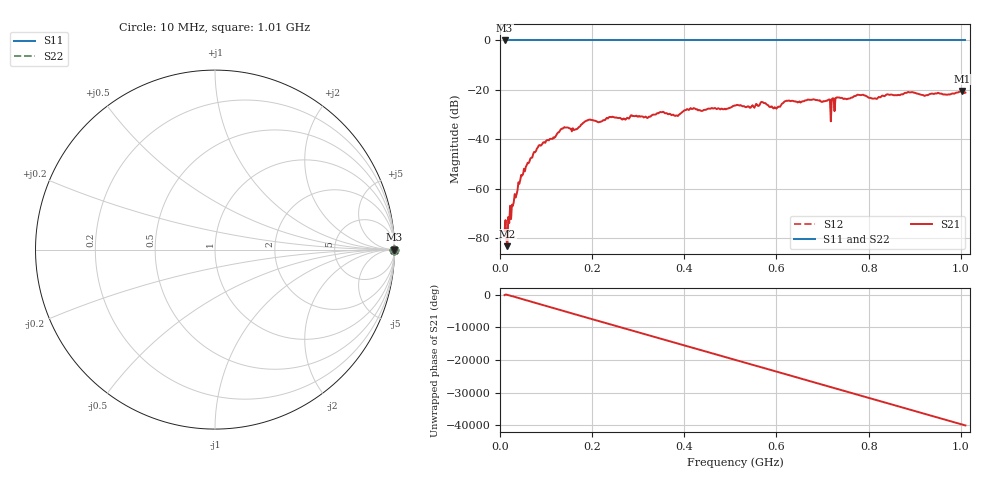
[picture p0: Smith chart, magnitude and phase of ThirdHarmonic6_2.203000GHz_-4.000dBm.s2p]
! 8/17/2025 2:15:07 AM
! C:\ANRITSUVNA\TEMP\TEMP.S2P
! CHANNEL.1
! TR.MEASUREMENT
! RAW.DATA
! RF.CORRECTION.OFF
! AVERAGING.OFF
! IF.BANDWIDTH: 5KHZ
! SWEEPTYPE:  FREQ.SWEEP(Linear)
! Reference Plane Port Info
! PORT:  PORT1  PORT2
! DISTANCE:  0  m  0  m
! TIME:  0  s  0  s
! PHASE.OFFSET:  0  deg.  0  deg.
! LOSS:  0  dB  0  dB
! REF.LOSS:  0  dB  0  dB
! REF.FREQ:  0  Hz  0  Hz
! Power Info
! POWER:  -20  dBm  -20  dBm
! EFF.POWER:  -20  dBm  -20  dBm
! SOURCE.ATTEN:  0  dB  0  dB
! TEST.ATTEN:  0  dB  0  dB
# GHZ S RI R 50.0
! FREQ.GHZ  S11RE  S11IM  S21RE  S21IM  S12RE  S12IM  S22RE  S22IM
!; PortSelection: Port_12
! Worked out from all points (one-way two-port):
!   501 points, 10 MHz to 1.01 GHz, reference 50 ohm
!   highest |S21| = -20.44 dB at 1.002 GHz (marker M1); lowest = -83.2 dB at 16 MHz (marker M2)
!   lowest |S11| = 0.0 dB at 10 MHz (marker M3)
!   |S11| at or under -10 dB: nowhere
!   |S22| runs from 0.0 to 0.0 dB; largest |S21 - S12| = 1.1
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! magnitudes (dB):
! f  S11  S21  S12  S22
! 10 MHz  0.0  -77.0  0.0  0.0
! 16 MHz  0.0  -83.2  0.0  0.0
! 44 MHz  0.0  -56.4  0.0  0.0
! 82 MHz  0.0  -43.3  0.0  0.0
! 136 MHz  0.0  -35.7  0.0  0.0
! 164 MHz  0.0  -35.9  0.0  0.0
! 178 MHz  0.0  -33.8  0.0  0.0
! 344 MHz  0.0  -29.5  0.0  0.0
! 382 MHz  0.0  -30.4  0.0  0.0
! 416 MHz  0.0  -27.7  0.0  0.0
! 510 MHz  0.0  -26.3  0.0  0.0
! 570 MHz  0.0  -25.0  0.0  0.0
! 598 MHz  0.0  -27.3  0.0  0.0
! 622 MHz  0.0  -24.4  0.0  0.0
! 678 MHz  0.0  -23.9  0.0  0.0
! 712 MHz  0.0  -24.1  0.0  0.0
! 722 MHz  0.0  -23.4  0.0  0.0
! 732 MHz  0.0  -23.0  0.0  0.0
! 814 MHz  0.0  -23.4  0.0  0.0
! 844 MHz  0.0  -21.9  0.0  0.0
! 1.002 GHz  0.0  -20.4  0.0  0.0
! 1.01 GHz  0.0  -21.1  0.0  0.0
